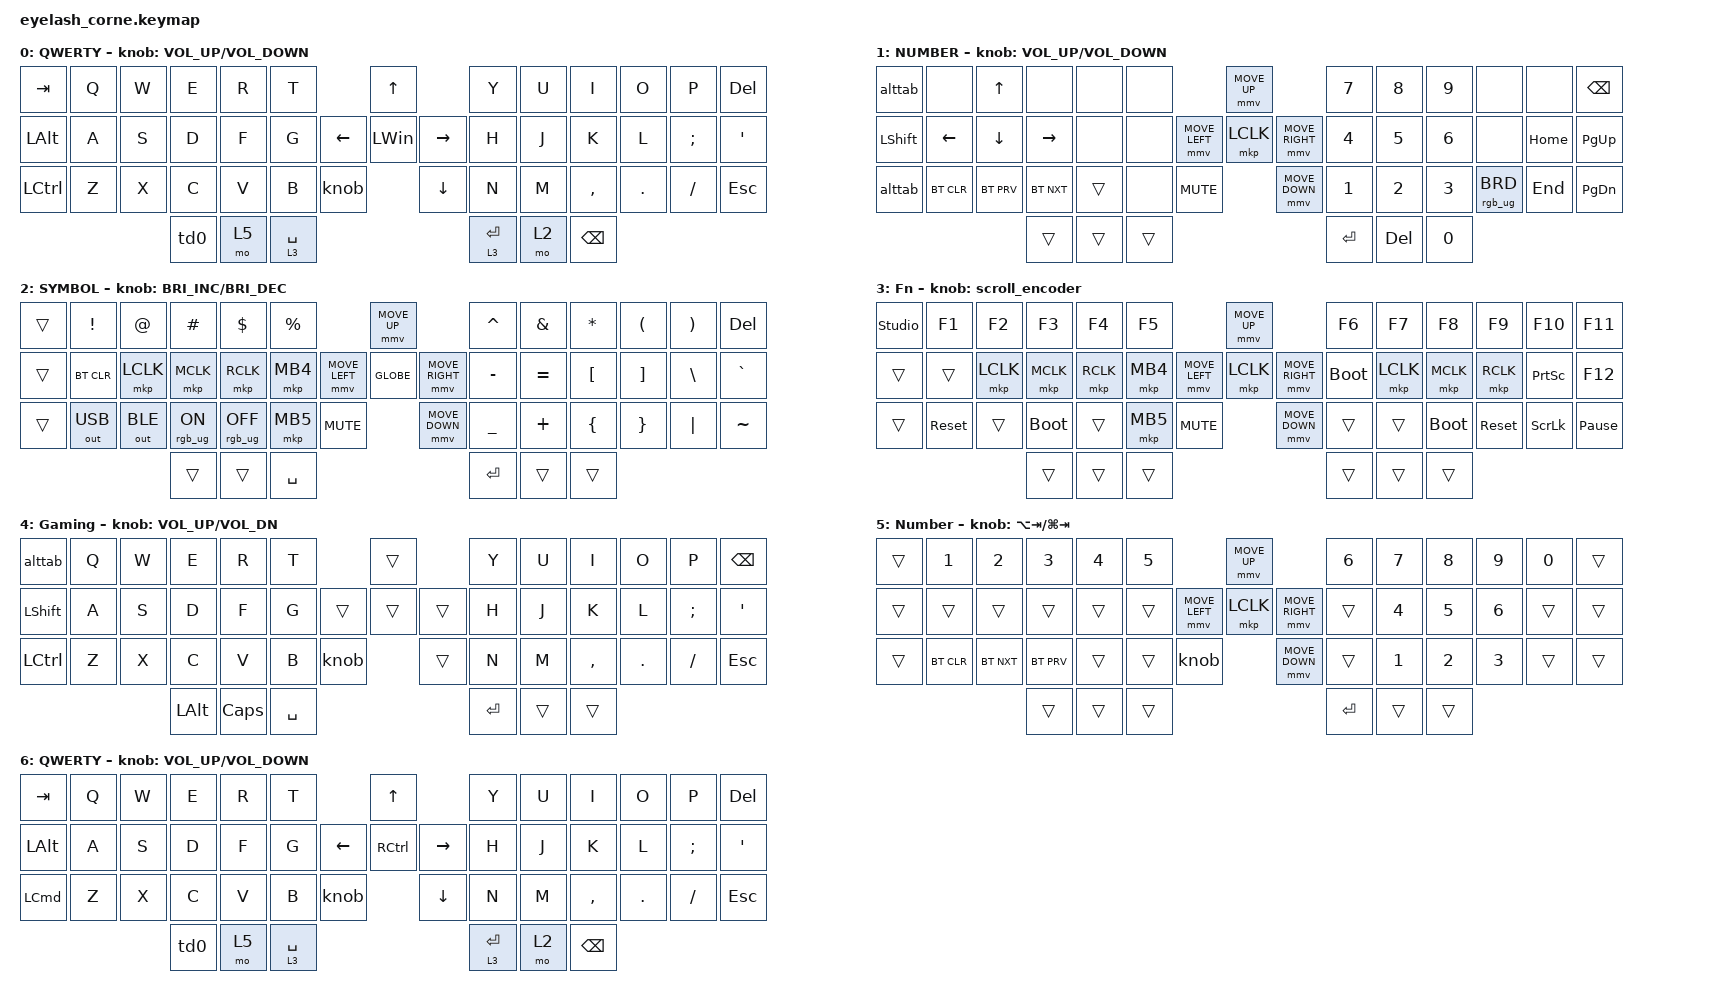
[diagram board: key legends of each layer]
#include <dt-bindings/zmk/mouse.h>
#include <input/processors.dtsi>
#include <behaviors.dtsi>
#include <dt-bindings/zmk/bt.h>
#include <dt-bindings/zmk/keys.h>
#include <dt-bindings/zmk/outputs.h>
#include <dt-bindings/zmk/pointing.h>
#include <dt-bindings/zmk/rgb.h>

/*

   &mmv_input_listener {
       input-processors = <&zip_xy_scaler 2 1>;
   };

   &msc_input_listener {
       input-processors = <&zip_xy_scaler 2 1>;
   };

 */

#define ZMK_MOUSE_DEFAULT_MOVE_VAL 1200  // 600
#define ZMK_MOUSE_DEFAULT_SCRL_VAL 20    // 10

/ {
    behaviors {
        td0: td0 {
            compatible = "zmk,behavior-tap-dance";
            display-name = "Shift/Caps Lock Tap Dance";
            #binding-cells = <0>;
            bindings = <&kp LEFT_SHIFT>, <&kp CAPS>;
        };

        knob: knob {
            compatible = "zmk,behavior-tap-dance";
            label = "KNOB";
            #binding-cells = <0>;
            bindings = <&kp K_PLAY_PAUSE>, <&kp K_NEXT>;

            tapping-term-ms = <30>;
        };

        new_behavior: new_behavior {
            compatible = "zmk,behavior-tap-dance";
            label = "NEW_BEHAVIOR";
            #binding-cells = <0>;
            bindings = <&kp LCTRL>, <&kp DEL>;
        };

        alttab: alttab {
            compatible = "zmk,behavior-tap-dance";
            label = "ALTTAB";
            #binding-cells = <0>;
            bindings = <&kp TAB>, <&kp LA(TAB)>;
        };
    };

    rgb_encoder: rgb_encoder {
        compatible = "zmk,behavior-sensor-rotate";
        #sensor-binding-cells = <0>;
        bindings = <&rgb_ug RGB_BRI>, <&rgb_ug RGB_BRD>;
    };

    scroll_encoder: scroll_encoder {
        compatible = "zmk,behavior-sensor-rotate";
        #sensor-binding-cells = <0>;
        bindings = <&msc SCRL_DOWN>, <&msc SCRL_UP>;

        tap-ms = <30>;
    };

    combos {
        compatible = "zmk,combos";

        gaming {
            bindings = <&tog 4>;
            key-positions = <2 14 16>;
            layers = <0 4>;
            require-prior-idle-ms = <101>;
        };

        Macos {
            bindings = <&sl 0>;
            key-positions = <14 15 16 17>;
        };
    };

    keymap {
        compatible = "zmk,keymap";

        default_layer {
            display-name = "QWERTY";
            bindings = <
&kp TAB       &kp Q  &kp W  &kp E  &kp R  &kp T                           &kp UP                   &kp Y        &kp U  &kp I          &kp O    &kp P     &kp DELETE
&kp LEFT_ALT  &kp A  &kp S  &kp D  &kp F  &kp G                 &kp LEFT  &kp LEFT_WIN  &kp RIGHT  &kp H        &kp J  &kp K          &kp L    &kp SEMI  &kp SQT
&kp LCTRL     &kp Z  &kp X  &kp C  &kp V  &kp B        &knob              &kp DOWN                 &kp N        &kp M  &kp COMMA      &kp DOT  &kp FSLH  &kp ESC
                            &td0   &mo 5  &lt 3 SPACE                                              &lt 3 ENTER  &mo 2  &kp BACKSPACE
            >;

            sensor-bindings = <&inc_dec_kp C_VOLUME_UP C_VOLUME_DOWN>;
        };

        lower_layer {
            display-name = "NUMBER";
            bindings = <
&alttab         &none       &kp UP_ARROW  &none       &none   &none                                 &mmv MOVE_UP                     &kp N7     &kp N8   &kp N9  &none            &none     &kp BSPC
&kp LEFT_SHIFT  &kp LEFT    &kp DOWN      &kp RIGHT   &none   &none                 &mmv MOVE_LEFT  &mkp LCLK       &mmv MOVE_RIGHT  &kp N4     &kp N5   &kp N6  &none            &kp HOME  &kp PG_UP
&alttab         &bt BT_CLR  &bt BT_PRV    &bt BT_NXT  &trans  &none   &kp C_MUTE                    &mmv MOVE_DOWN                   &kp N1     &kp N2   &kp N3  &rgb_ug RGB_BRD  &kp END   &kp PG_DN
                                          &trans      &trans  &trans                                                                 &kp ENTER  &kp DEL  &kp N0
            >;

            sensor-bindings = <&inc_dec_kp C_VOLUME_UP K_VOLUME_DOWN>;
        };

        raise_layer {
            display-name = "SYMBOL";
            bindings = <
&trans  &kp EXCL      &kp AT        &kp HASH        &kp DLLR         &kp PRCNT                                &mmv MOVE_UP                     &kp CARET  &kp AMPS   &kp ASTRK  &kp LPAR  &kp RPAR  &kp DELETE
&trans  &bt BT_CLR    &mkp LCLK     &mkp MCLK       &mkp RCLK        &mkp MB4                 &mmv MOVE_LEFT  &kp GLOBE       &mmv MOVE_RIGHT  &kp MINUS  &kp EQUAL  &kp LBKT   &kp RBKT  &kp BSLH  &kp GRAVE
&trans  &out OUT_USB  &out OUT_BLE  &rgb_ug RGB_ON  &rgb_ug RGB_OFF  &mkp MB5   &kp K_MUTE                    &mmv MOVE_DOWN                   &kp UNDER  &kp PLUS   &kp LBRC   &kp RBRC  &kp PIPE  &kp TILDE
                                    &trans          &trans           &kp SPACE                                                                 &kp RET    &trans     &trans
            >;

            sensor-bindings = <&inc_dec_kp C_BRIGHTNESS_INC C_BRIGHTNESS_DEC>;
        };

        layer_3 {
            display-name = "Fn";
            bindings = <
&studio_unlock  &kp F1      &kp F2     &kp F3       &kp F4     &kp F5                                  &mmv MOVE_UP                     &kp F6       &kp F7     &kp F8       &kp F9      &kp F10          &kp F11
&trans          &trans      &mkp LCLK  &mkp MCLK    &mkp RCLK  &mkp MB4                &mmv MOVE_LEFT  &mkp LCLK       &mmv MOVE_RIGHT  &bootloader  &mkp LCLK  &mkp MCLK    &mkp RCLK   &kp PRINTSCREEN  &kp F12
&trans          &sys_reset  &trans     &bootloader  &trans     &mkp MB5  &kp C_MUTE                    &mmv MOVE_DOWN                   &trans       &trans     &bootloader  &sys_reset  &kp SCROLLLOCK   &kp PAUSE_BREAK
                                       &trans       &trans     &trans                                                                   &trans       &trans     &trans
            >;

            sensor-bindings = <&scroll_encoder>;
        };

        gaming {
            bindings = <
&alttab    &kp Q  &kp W  &kp E     &kp R     &kp T                       &trans          &kp Y      &kp U   &kp I      &kp O    &kp P     &kp BSPC
&kp LSHFT  &kp A  &kp S  &kp D     &kp F     &kp G               &trans  &trans  &trans  &kp H      &kp J   &kp K      &kp L    &kp SEMI  &kp SQT
&kp LCTRL  &kp Z  &kp X  &kp C     &kp V     &kp B      &knob            &trans          &kp N      &kp M   &kp COMMA  &kp DOT  &kp FSLH  &kp ESC
                         &kp LALT  &kp CAPS  &kp SPACE                                   &kp ENTER  &trans  &trans
            >;

            label = "Gaming";
            sensor-bindings = <&inc_dec_kp C_VOLUME_UP C_VOL_DN>;
        };

        layer_5 {
            bindings = <
&trans  &kp N1      &kp N2      &kp N3      &kp N4  &kp N5                           &mmv MOVE_UP                     &kp N6     &kp N7        &kp N8        &kp N9        &kp N0  &trans
&trans  &trans      &trans      &trans      &trans  &trans           &mmv MOVE_LEFT  &mkp LCLK       &mmv MOVE_RIGHT  &trans     &kp NUMBER_4  &kp NUMBER_5  &kp NUMBER_6  &trans  &trans
&trans  &bt BT_CLR  &bt BT_NXT  &bt BT_PRV  &trans  &trans  &knob                    &mmv MOVE_DOWN                   &trans     &kp NUMBER_1  &kp NUMBER_2  &kp NUMBER_3  &trans  &trans
                                &trans      &trans  &trans                                                            &kp ENTER  &trans        &trans
            >;

            label = "Number";
            sensor-bindings = <&inc_dec_kp LA(TAB) LG(TAB)>;
        };

        layer_6 {
            display-name = "QWERTY";
            bindings = <
&kp TAB       &kp Q  &kp W  &kp E  &kp R  &kp T                           &kp UP                &kp Y        &kp U  &kp I          &kp O    &kp P     &kp DELETE
&kp LEFT_ALT  &kp A  &kp S  &kp D  &kp F  &kp G                 &kp LEFT  &kp RCTRL  &kp RIGHT  &kp H        &kp J  &kp K          &kp L    &kp SEMI  &kp SQT
&kp LCMD      &kp Z  &kp X  &kp C  &kp V  &kp B        &knob              &kp DOWN              &kp N        &kp M  &kp COMMA      &kp DOT  &kp FSLH  &kp ESC
                            &td0   &mo 5  &lt 3 SPACE                                           &lt 3 ENTER  &mo 2  &kp BACKSPACE
            >;

            sensor-bindings = <&inc_dec_kp C_VOLUME_UP C_VOLUME_DOWN>;
        };
    };
};
